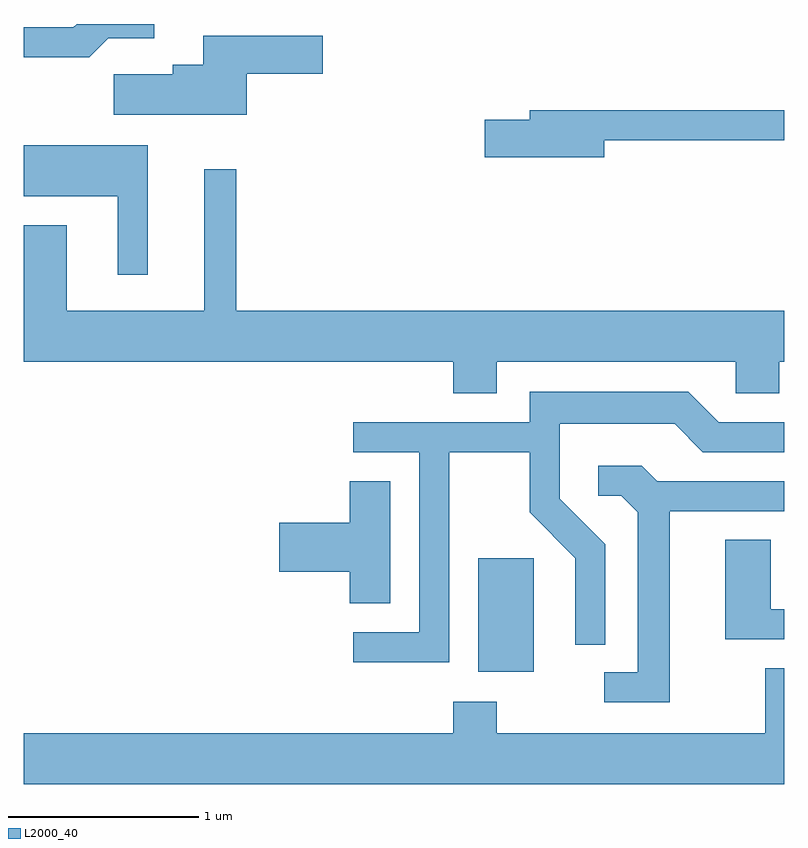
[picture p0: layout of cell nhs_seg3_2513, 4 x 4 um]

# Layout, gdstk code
import gdstk
lib = gdstk.Library(unit=1e-6, precision=1e-09)
def R(c, l, rs):  # rectangles x0, y0, x1, y1
    for r in rs: c.add(gdstk.rectangle(r[:2], r[2:], *l))
def P(c, l, *ps):  # polygons
    for p in ps: c.add(gdstk.Polygon(p, *l))
L2000_40 = (2000, 40)

nhs_seg3_2513 = lib.new_cell('nhs_seg3_2513')
R(nhs_seg3_2513, L2000_40, [(260.001,1246.486,260.294,1247.084)])
P(nhs_seg3_2513, L2000_40, [(258.057,1249.816),(258.299,1249.816),(258.299,1249.892),(257.891,1249.892),(257.873,1249.874),(257.611,1249.874),(257.611,1249.716),(257.957,1249.716)],
  [(258.784,1249.631),(259.184,1249.631),(259.184,1249.829),(258.556,1249.829),(258.556,1249.679),(258.396,1249.679),(258.396,1249.629),(258.086,1249.629),(258.086,1249.416),(258.784,1249.416)],
  [(260.664,1249.281),(261.611,1249.281),(261.611,1249.439),(260.271,1249.439),(260.271,1249.389),(260.036,1249.389),(260.036,1249.191),(260.664,1249.191)],
  [(258.264,1249.254),(257.611,1249.254),(257.611,1248.986),(258.106,1248.986),(258.106,1248.573),(258.264,1248.573)],
  [(260.099,1248.116),(261.356,1248.116),(261.356,1247.951),(261.584,1247.951),(261.584,1248.116),(261.611,1248.116),(261.611,1248.384),(258.729,1248.384),(258.729,1249.128),(258.561,1249.128),(258.561,1248.384),(257.839,1248.384),(257.839,1248.834),(257.611,1248.834),(257.611,1248.116),(259.871,1248.116),(259.871,1247.951),(260.099,1247.951)],
  [(259.849,1247.641),(260.271,1247.641),(260.271,1247.324),(260.511,1247.084),(260.511,1246.628),(260.669,1246.628),(260.669,1247.157),(260.429,1247.397),(260.429,1247.791),(261.034,1247.791),(261.183,1247.641),(261.611,1247.641),(261.611,1247.799),(261.267,1247.799),(261.106,1247.959),(260.271,1247.959),(260.271,1247.799),(259.343,1247.799),(259.343,1247.641),(259.691,1247.641),(259.691,1246.694),(259.343,1246.694),(259.343,1246.536),(259.849,1246.536)],
  [(261.009,1247.331),(261.611,1247.331),(261.611,1247.489),(260.942,1247.489),(260.861,1247.569),(260.633,1247.569),(260.633,1247.411),(260.754,1247.411),(260.841,1247.324),(260.841,1246.484),(260.663,1246.484),(260.663,1246.326),(261.009,1246.326)],
  [(259.539,1247.489),(259.326,1247.489),(259.326,1247.269),(258.956,1247.269),(258.956,1247.011),(259.326,1247.011),(259.326,1246.846),(259.539,1246.846)],
  [(261.611,1246.814),(261.539,1246.814),(261.539,1247.179),(261.301,1247.179),(261.301,1246.656),(261.611,1246.656)],
  [(261.611,1246.504),(261.511,1246.504),(261.511,1246.164),(260.099,1246.164),(260.099,1246.329),(259.871,1246.329),(259.871,1246.164),(257.611,1246.164),(257.611,1245.896),(261.611,1245.896)])

lib.write_gds('nhs_seg3_2513.gds')
